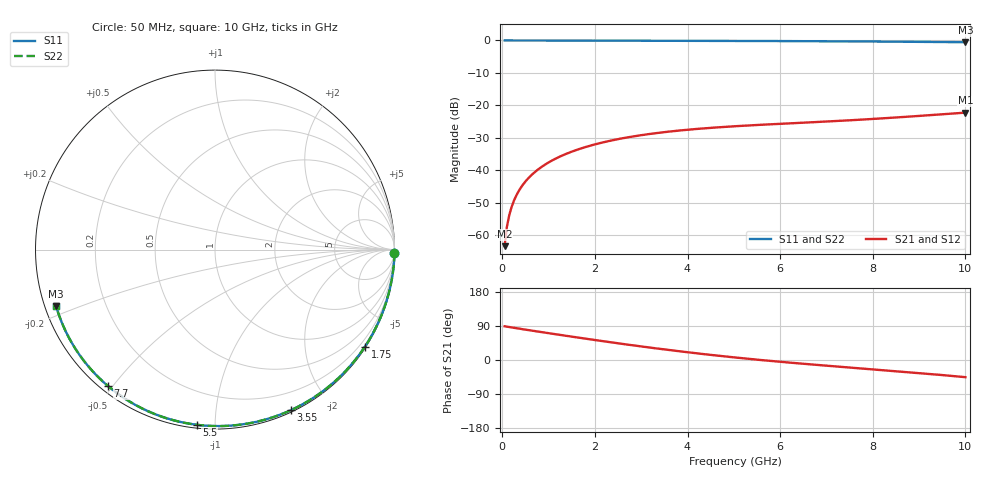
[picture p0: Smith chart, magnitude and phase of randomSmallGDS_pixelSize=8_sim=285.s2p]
! freq	dB(S11)	phase(S11)	dB(S12)	phase(S12)
!  dB(S21)	phase(S21)	dB(S22)	phase(S22)
!S-par simulation data
#  GHz  S  DB  R 50
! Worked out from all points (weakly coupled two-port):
!   200 points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, 50 MHz to 10 GHz, reference 50 ohm
!   highest |S21| = -22.21 dB at 10 GHz (marker M1); lowest = -63.3 dB at 50 MHz (marker M2)
!   lowest |S11| = -0.5 dB at 10 GHz (marker M3), VSWR 32.10, Z = 1.6 - j8.58 ohm
!   |S11| at or under -10 dB: nowhere
!   |S22| runs from -0.5 to 0.0 dB; largest |S21 - S12| = 0
!   S11 on the Smith chart (normalised r, x): 50 MHz: open; 1.75 GHz: 0.03, -3.39; 3.55 GHz: 0.02, -1.58; 5.5 GHz: 0.02, -0.90; 7.7 GHz: 0.02, -0.49; 10 GHz: 0.03, -0.17
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0.05  -0.00 -1.0  -63.32 89.0  -63.32 89.0  -0.00 -1.0
0.1  -0.00 -1.9  -57.31 88.0  -57.31 88.0  -0.00 -1.9
0.15  -0.00 -2.9  -53.79 87.0  -53.79 87.0  -0.00 -2.9
0.2  -0.00 -3.8  -51.30 86.0  -51.30 86.0  -0.00 -3.8
0.25  -0.00 -4.8  -49.37 85.0  -49.37 85.0  -0.00 -4.8
0.35  -0.01 -6.7  -46.47 83.0  -46.47 83.0  -0.01 -6.7
0.5  -0.01 -9.6  -43.41 80.1  -43.41 80.1  -0.01 -9.6
0.7  -0.02 -13.4  -40.55 76.3  -40.55 76.3  -0.02 -13.4
1  -0.02 -19.0  -37.55 70.8  -37.55 70.8  -0.02 -19.0
1.35  -0.03 -25.5  -35.08 64.3  -35.08 64.3  -0.03 -25.5
1.75  -0.04 -32.9  -33.02 57.1  -33.02 57.1  -0.04 -32.9
2.6  -0.07 -48.2  -30.10 42.4  -30.10 42.4  -0.07 -48.2
3.4  -0.09 -62.1  -28.39 29.4  -28.39 29.4  -0.09 -62.1
3.55  -0.09 -64.7  -28.14 27.1  -28.14 27.1  -0.09 -64.7
4.3  -0.12 -77.1  -27.12 16.2  -27.12 16.2  -0.12 -77.1
5.05  -0.14 -89.0  -26.39 6.4  -26.39 6.4  -0.14 -89.0
5.5  -0.16 -96.0  -26.02 0.9  -26.02 0.9  -0.16 -96.0
6.7  -0.23 -113.8  -25.17 -12.0  -25.17 -12.0  -0.23 -113.8
7.7  -0.30 -128.2  -24.42 -21.7  -24.42 -21.7  -0.30 -128.2
8.35  -0.36 -137.3  -23.85 -27.9  -23.85 -27.9  -0.36 -137.3
9.2  -0.44 -149.2  -23.03 -36.6  -23.03 -36.6  -0.44 -149.2
10  -0.54 -160.5  -22.21 -45.3  -22.21 -45.3  -0.54 -160.5
